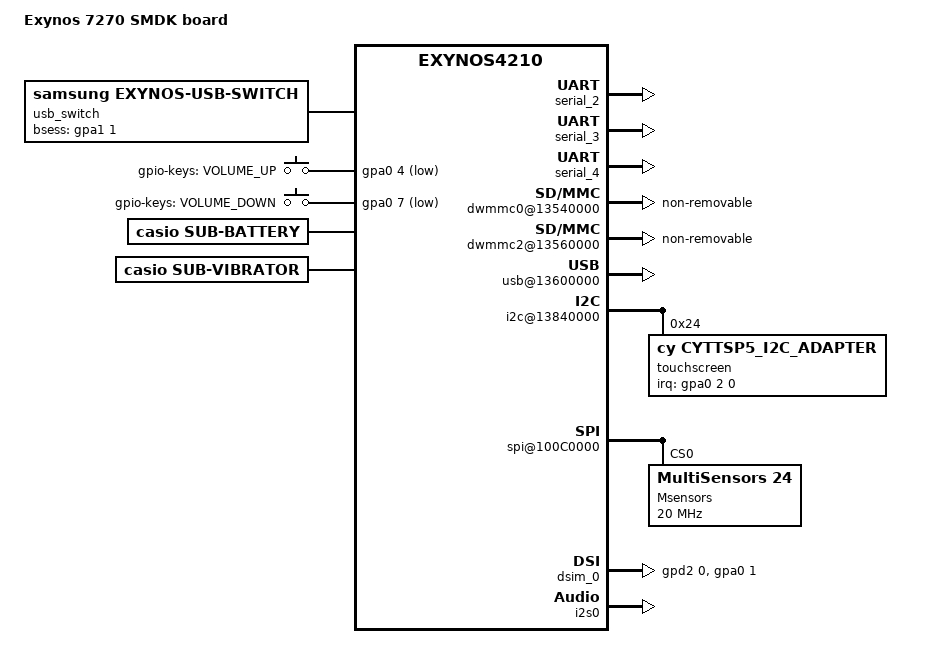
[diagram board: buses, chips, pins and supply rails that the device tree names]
/*
 * SAMSUNG SMDK7270 board device tree source
 *
 * Copyright (c) 2013 Samsung Electronics Co., Ltd.
 *		http://www.samsung.com
 *
 * This program is free software; you can redistribute it and/or modify
 * it under the terms of the GNU General Public License version 2 as
 * published by the Free Software Foundation.
*/

/dts-v1/;
#include "exynos7270-kingyo.dtsi"

/ {
	model = "Exynos 7270 SMDK board";
	compatible = "samsung,exynos7570", "samsung,exynos4210";

	memory@40000000 {
		device_type = "memory";
		reg = <0x0 0x40000000 0x30000000>;
	};

	chosen {
		bootargs ="console=ttySAC2,115200 clk_ignore_unused androidboot.hardware=kingyo firmware_class.path=/vendor/firmware ess_setup=0x46000000";
		linux,initrd-start = <0x42000000>;
		linux,initrd-end = <0x420FFFFF>;
	};

	fixed-rate-clocks {
		oscclk {
			compatible = "samsung,exynos7570-oscclk";
			clock-frequency = <26000000>;
		};
	};

	/* Console */
	serial_2: uart@13820000 {
		status = "okay";
	};

	/* UART (SUBCPU) */
	usi_0: usi@101D2000 {
		status = "okay";
	};

	serial_3: uart@13910000 {
		status = "okay";
	};

	/* UART (BT) */
	usi_1: usi@101D3000 {
		status = "okay";
	};

	serial_4: uart@13930000 {
		status = "okay";
	};

	dwmmc0@13540000 {
		status = "okay";
		num-slots = <1>;
		broken-cd;
		fixed_voltage;
		supports-highspeed;
		mmc-ddr-1_8v;
		supports-8bit;
		supports-cmd23;
		supports-erase;
		supports-hs400-enhanced-strobe;
		enable-ulp-mode;
		use-fine-tuning;
		only_once_tune;
		bypass-for-allpass;
		card-init-hwacg-ctrl;
		fifo-depth = <0x40>;
		non-removable;
		desc-size = <4>;
		card-detect-delay = <200>;
		clock-frequency = <700000000>;
		samsung,dw-mshc-ciu-div = <3>;
		samsung,dw-mshc-txdt-crc-timer-fastlimit = <0x34>;
		samsung,dw-mshc-txdt-crc-timer-initval = <0x38>;
		samsung,dw-mshc-hs400-delay-line = <0x60>;
		samsung,dw-mshc-sdr-timing = <3 0 2 0>;
		samsung,dw-mshc-ddr-timing = <3 0 4 2>;
		samsung,dw-mshc-hs200-timing = <3 0 3 0>;
		samsung,dw-mshc-hs400-timing = <1 0 2 0>;
		samsung,dw-mshc-hs400-ulp-timing = <3 0 2 0>;

		num-ref-clks = <12>;
		ciu_clkin = <25 43 43 25 43 87 175 43 43 175 175 175>;

		/* Swapping clock drive strength */
		clk-drive-number = <4>;
		pinctrl-names = "default",
			"fast-slew-rate-1x",
			"fast-slew-rate-2x",
			"fast-slew-rate-3x",
			"fast-slew-rate-4x";
		pinctrl-0 = <&sd0_clk &sd0_cmd &sd0_rdqs &sd0_bus1 &sd0_bus4 &sd0_bus8>;
		pinctrl-1 = <&sd0_clk_fast_slew_rate_1x>;
		pinctrl-2 = <&sd0_clk_fast_slew_rate_2x>;
		pinctrl-3 = <&sd0_clk_fast_slew_rate_3x>;
		pinctrl-4 = <&sd0_clk_fast_slew_rate_4x>;
		slot@0 {
			reg = <0>;
			bus-width = <8>;
		};
	};

	dwmmc2@13560000 {
		status = "okay";
		num-slots = <1>;
		supports-4bit;
		supports-cmd23;
		supports-erase;
		clock-gate;
		fixed_volt;
		supports-highspeed;
//		only_once_tune;
		enable-cclk-on-suspend;
		keep-power-in-suspend;
//		enable-sdio-wakeup;
		skip-init-mmc-scan;
		non-removable;
		broken-card-detect;
		supports-poweroff-notification;
		card-detect-ext;
//		cd-gpio = <&gpc0 1 0xf>;
		qos_int_level = <133>;
		fifo-depth = <0x40>;
		card-detect-delay = <200>;
		samsung,dw-mshc-ciu-div = <3>;
		samsung,dw-mshc-sdr-timing = <3 0 2 1>;
		samsung,dw-mshc-ddr-timing = <3 0 3 2>;
		num-ref-clks = <3>;
		ciu_clkin = <25 50 50>;

//		num-ref-clks = <11>;
//		ciu_clkin = <25 50 50 50 50 100 200 100 100 200 400>;
//		clk-drive-number = <4>;
		pinctrl-names = "default";
//			"fast-slew-rate-1x",
//			"fast-slew-rate-2x",
//			"fast-slew-rate-3x",
//			"fast-slew-rate-4x";
		pinctrl-0 = <&sd2_clk &sd2_cmd &sd2_bus1 &sd2_bus4>;
//		pinctrl-1 = <&sd2_clk_fast_slew_rate_1x>;
//		pinctrl-2 = <&sd2_clk_fast_slew_rate_2x>;
//		pinctrl-3 = <&sd2_clk_fast_slew_rate_3x>;
//		pinctrl-4 = <&sd2_clk_fast_slew_rate_4x>;

		slot@0 {
			reg = <0>;
			bus-width = <4>;
//			disable-wp;
		};
	};

	ion {
		compatible = "samsung,exynos5430-ion";
	};

	usb@13600000 {
		status = "okay";

		dwc3 {
			dr_mode = "otg";
		};
	};

	usbphy@135c0000 {
		status = "okay";
	};

	usb_switch {
		compatible = "samsung,exynos-usb-switch";
		udc = <&udc>;
		pinctrl-names = "default";
		pinctrl-0 = <&sub_main_vbus_det>;
		samsung,bsess-gpio = <&gpa1 1 0>;
	};

	bluetooth {
		compatible = "kingyo-bluetooth";
		#address-cells = <1>;
		#size-cells = <0>;
		pinctrl-names = "default";
		pinctrl-0 = <&dual_main_wkup &main_dual_rst>;
	};

	wlan {
		compatible = "kingyo-wifi";
		pinctrl-names = "default";
		pinctrl-0 = <&wlan_main_wkup &wlan_reset>;
	};

	kingyo_gps {
		compatible = "kingyo-gps";
		#address-cells = <1>;
		#size-cells = <0>;
		pinctrl-names = "default";
		pinctrl-0 = <&sub_main_int2>;
		sub-main-int2 = <&gpa1 3 0>;
	};

/*	OTS
	i2c@13880000 {
		status = "okay";
		muic-s2mm001@25 {
			compatible = "samsung,muic-s2mm001";
			reg = <0x25>;
			pinctrl-names = "default";
			muic,muic_int = <&gpa1 1 0>;
		};
	};
*/
	speedy@10510000 {
		status = "okay";
		s2mpw01mfd@00 {
			compatible = "samsung,s2mpw01mfd";
			reg = <0x00>;
			pinctrl-names = "default";
			pinctrl-0 = <&pmic_main_irq>;
			s2mpw01,irq-gpio = <&gpa0 5 0>;
			s2mpw01,wakeup = "enabled";

			i2c-speedy-address;
			cache_data = <1>;

			/* RTC: wtsr/smpl */
			wtsr_en = "enabled"; /* enable */
			wtsr_timer_val = <3>;   /* 1000ms */
			check_jigon = <0>; /* do not check jigon */
			/* RTC: reset time to 1/1/2014 00:00:00(Wed) */
			init_time,sec = <0>;
			init_time,min = <0>;
			init_time,hour = <0>;
			init_time,mday = <1>;
			init_time,mon = <0>;    /* +1 */
			init_time,year = <116>; /* 1900 + 114 */
			init_time,wday = <5>;

			s2mpw01-keys {
				button@1 {
					label = "pmic-keys: KEY_POWER";
					linux,code = <116>;
					wakeup = <1>;
				};
			};

			regulators {
				buck1_reg: BUCK1 {
					regulator-name = "BUCK1";
					regulator-min-microvolt = <600000>;
					regulator-max-microvolt = <1300000>;
					regulator-always-on;
					regulator-boot-on;
					regulator-ramp-delay = <12000>;
					regulator-initial-mode = <1>;
					regulator-expected-consumer = <6>;
				};

				buck3_reg: BUCK3 {
					regulator-name = "BUCK3";
					regulator-min-microvolt = <800000>;
					regulator-max-microvolt = <1500000>;
					regulator-always-on;
					regulator-boot-on;
					regulator-ramp-delay = <12000>;
					regulator-initial-mode = <3>;
				};

				buck4_reg: BUCK4 {
					regulator-name = "BUCK4";
					regulator-min-microvolt = <1800000>;
					regulator-max-microvolt = <2100000>;
					regulator-always-on;
					regulator-boot-on;
					regulator-initial-mode = <3>;
					regulator-ramp-delay = <12000>;
				};

				ldo1_reg: LDO1 {
					regulator-name = "vdd_ldo1";
					regulator-min-microvolt = <500000>;
					regulator-max-microvolt = <1350000>;
					regulator-ramp-delay = <12000>;
					regulator-initial-mode = <3>;
					regulator-always-on;
					regulator-boot-on;
				};

				ldo2_reg: LDO2 {
					regulator-name = "vdd_ldo2";
					regulator-min-microvolt = <500000>;
					regulator-max-microvolt = <1350000>;
					regulator-always-on;
					regulator-boot-on;
					regulator-ramp-delay = <12000>;
					regulator-initial-mode = <1>;
				};

				ldo3_reg: LDO3 {
					regulator-name = "vdd_ldo3";
					regulator-min-microvolt = <1500000>;
					regulator-max-microvolt = <2000000>;
					regulator-always-on;
					regulator-boot-on;
					regulator-initial-mode = <3>;
					regulator-ramp-delay = <12000>;
				};

				ldo4_reg: LDO4 {
					regulator-name = "vdd_ldo4";
					regulator-min-microvolt = <800000>;
					regulator-max-microvolt = <1200000>;
					regulator-always-on;
					regulator-boot-on;
					regulator-initial-mode = <1>;
					regulator-ramp-delay = <12000>;
				};

				ldo5_reg: LDO5 {
					regulator-name = "vdd_ldo5";
					regulator-min-microvolt = <800000>;
					regulator-max-microvolt = <1200000>;
					regulator-ramp-delay = <12000>;
				};

				ldo6_reg: LDO6 {
					regulator-name = "vdd_ldo6";
					regulator-min-microvolt = <1800000>;
					regulator-max-microvolt = <3375000>;
					regulator-initial-mode = <1>;
					regulator-ramp-delay = <12000>;
					regulator-always-on;
				};

				ldo7_reg: LDO7 {
					regulator-name = "vdd_ldo7";
					regulator-min-microvolt = <800000>;
					regulator-max-microvolt = <1200000>;
					regulator-always-on;
					regulator-boot-on;
					regulator-initial-mode = <3>;
					regulator-ramp-delay = <12000>;
				};

				ldo8_reg: LDO8 {
					regulator-name = "vdd_ldo8";
					regulator-min-microvolt = <1500000>;
					regulator-max-microvolt = <2000000>;
					regulator-always-on;
					regulator-boot-on;
					regulator-initial-mode = <0>;
					regulator-ramp-delay = <12000>;
				};

				ldo9_reg: LDO9 {
					regulator-name = "vdd_ldo9";
					regulator-min-microvolt = <1800000>;
					regulator-max-microvolt = <3375000>;
					regulator-always-on;
					regulator-boot-on;
					regulator-initial-mode = <0>;
					regulator-ramp-delay = <12000>;
				};

				ldo10_reg: LDO10 {
					regulator-name = "vdd_ldo10";
					regulator-min-microvolt = <1500000>;
					regulator-max-microvolt = <2000000>;
					regulator-always-on;
					regulator-boot-on;
					regulator-initial-mode = <1>;
					regulator-ramp-delay = <12000>;
				};
				/* Audio 1.8V */
				ldo11_reg: LDO11 {
					regulator-name = "vdd_aud_1.8";
					regulator-min-microvolt = <1800000>;
					regulator-max-microvolt = <1800000>;
				//	regulator-always-on;
				//	regulator-boot-on;
					regulator-ramp-delay = <12000>;
				};
				/* Audio 3.1V */
				ldo12_reg: LDO12 {
					regulator-name = "vdd_aud_3.1";
					regulator-min-microvolt = <3100000>;
					regulator-max-microvolt = <3100000>;
				//	regulator-always-on;
				//	regulator-boot-on;
					regulator-ramp-delay = <12000>;
				};

				/* Touch */
				ldo13_reg: LDO13 {
					regulator-name = "vdd_tsp_1.8";
					regulator-min-microvolt = <1800000>;
					regulator-max-microvolt = <1800000>;
					regulator-always-on;
					regulator-ramp-delay = <12000>;
				};

				ldo14_reg: LDO14 {
					regulator-name = "vdd_ldo14";
					regulator-min-microvolt = <1800000>;
					regulator-max-microvolt = <3375000>;
					regulator-ramp-delay = <12000>;
				};

				ldo15_reg: LDO15 {
					regulator-name = "vdd_ldo15";
					regulator-min-microvolt = <1500000>;
					regulator-max-microvolt = <2000000>;
					regulator-always-on;
					regulator-boot-on;
					regulator-initial-mode = <1>;
					regulator-ramp-delay = <12000>;
				};

				/* Touch */
				ldo16_reg: LDO16 {
					regulator-name = "vdd_tsp_3.1";
					regulator-min-microvolt = <3100000>;
					regulator-max-microvolt = <3100000>;
					regulator-always-on;
					regulator-initial-mode = <3>;
					regulator-ramp-delay = <12000>;
				};

				/* LCD */
				ldo17_reg: LDO17 {
					regulator-name = "vdd_lcd_1.8";
					regulator-min-microvolt = <1500000>;
					regulator-max-microvolt = <2000000>;
					regulator-ramp-delay = <12000>;
				};

				/* OTS */
				ldo18_reg: LDO18 {
					regulator-name = "vdd_ots_3.1";
					regulator-min-microvolt = <3100000>;
					regulator-max-microvolt = <3100000>;
					regulator-ramp-delay = <12000>;
				};

				ldo19_reg: LDO19 {
					regulator-name = "vdd_ldo19";
					regulator-min-microvolt = <1800000>;
					regulator-max-microvolt = <3375000>;
					regulator-ramp-delay = <12000>;
				};

				ldo20_reg: LDO20 {
					regulator-name = "vdd_ldo20";
					regulator-min-microvolt = <1800000>;
					regulator-max-microvolt = <3375000>;
					regulator-ramp-delay = <12000>;
				};

				ldo21_reg: LDO21 {
					regulator-name = "vdd_ldo21";
					regulator-min-microvolt = <1500000>;
					regulator-max-microvolt = <2000000>;
					regulator-ramp-delay = <12000>;
					regulator-always-on;
					regulator-boot-on;
					regulator-initial-mode = <1>;
				};

				ldo22_reg: LDO22 {
					regulator-name = "vdd_ldo22";
					regulator-min-microvolt = <800000>;
					regulator-max-microvolt = <1200000>;
					regulator-always-on;
					regulator-boot-on;
					regulator-initial-mode = <1>;
					regulator-ramp-delay = <12000>;
				};

				ldo23_reg: LDO23 {
					regulator-name = "vdd_ldo23";
					regulator-min-microvolt = <1800000>;
					regulator-max-microvolt = <3375000>;
					regulator-ramp-delay = <12000>;
				};
			};
		};
	};

	dummy-dev-buck1 {
		compatible = "samsung,exynos-rgt";
		test-supply = <&buck1_reg>;
	};

	dummy-dev-buck3 {
		compatible = "samsung,exynos-rgt";
		test-supply = <&buck3_reg>;
	};

	dummy-dev-buck4 {
		compatible = "samsung,exynos-rgt";
		test-supply = <&buck4_reg>;
	};

	dummy-dev-ldo1 {
		compatible = "samsung,exynos-rgt";
		test-supply = <&ldo1_reg>;
	};

	dummy-dev-ldo2 {
		compatible = "samsung,exynos-rgt";
		test-supply = <&ldo2_reg>;
	};

	dummy-dev-ldo3 {
		compatible = "samsung,exynos-rgt";
		test-supply = <&ldo3_reg>;
	};

	dummy-dev-ldo4 {
		compatible = "samsung,exynos-rgt";
		test-supply = <&ldo4_reg>;
	};

	dummy-dev-ldo5 {
		compatible = "samsung,exynos-rgt";
		test-supply = <&ldo5_reg>;
	};

	dummy-dev-ldo6 {
		compatible = "samsung,exynos-rgt";
		test-supply = <&ldo6_reg>;
	};

	dummy-dev-ldo7 {
		compatible = "samsung,exynos-rgt";
		test-supply = <&ldo7_reg>;
	};

	dummy-dev-ldo8 {
		compatible = "samsung,exynos-rgt";
		test-supply = <&ldo8_reg>;
	};

	dummy-dev-ldo9 {
		compatible = "samsung,exynos-rgt";
		test-supply = <&ldo9_reg>;
	};

	dummy-dev-ldo10 {
		compatible = "samsung,exynos-rgt";
		test-supply = <&ldo10_reg>;
	};

	dummy-dev-ldo11 {
		compatible = "samsung,exynos-rgt";
		test-supply = <&ldo11_reg>;
	};

	dummy-dev-ldo12 {
		compatible = "samsung,exynos-rgt";
		test-supply = <&ldo12_reg>;
	};

	dummy-dev-ldo13 {
		compatible = "samsung,exynos-rgt";
		test-supply = <&ldo13_reg>;
	};

	dummy-dev-ldo14 {
		compatible = "samsung,exynos-rgt";
		test-supply = <&ldo14_reg>;
	};

	dummy-dev-ldo15 {
		compatible = "samsung,exynos-rgt";
		test-supply = <&ldo15_reg>;
	};

	dummy-dev-ldo16 {
		compatible = "samsung,exynos-rgt";
		test-supply = <&ldo16_reg>;
	};

	dummy-dev-ldo17 {
		compatible = "samsung,exynos-rgt";
		test-supply = <&ldo17_reg>;
	};

	dummy-dev-ldo18 {
		compatible = "samsung,exynos-rgt";
		test-supply = <&ldo18_reg>;
	};

	dummy-dev-ldo19 {
		compatible = "samsung,exynos-rgt";
		test-supply = <&ldo19_reg>;
	};

	dummy-dev-ldo20 {
		compatible = "samsung,exynos-rgt";
		test-supply = <&ldo20_reg>;
	};

	dummy-dev-ldo21 {
		compatible = "samsung,exynos-rgt";
		test-supply = <&ldo21_reg>;
	};

	dummy-dev-ldo22 {
		compatible = "samsung,exynos-rgt";
		test-supply = <&ldo22_reg>;
	};

	dummy-dev-ldo23 {
		compatible = "samsung,exynos-rgt";
		test-supply = <&ldo23_reg>;
	};

	exynos-pm {
		compatible = "samsung,exynos-pm";
		reg = <0x0 0x139F0000 0x1000>,
		      <0x0 0x104E1200 0x100>;
		reg-names = "gpio_alive_base",
			    "gicd_ispendrn_base";
		num-eint = <24>;
		num-gic = <16>;
		suspend_mode_idx = <8>;		/* SYS_SLEEP */
		suspend_psci_idx = <133>;	/* PSCI_SYSTEM_SLEEP */
		cp_call_mode_idx = <4>;		/* SYS_LPD */
		cp_call_psci_idx = <132>;	/* PSCI_SYSTEM_CP_CALL */
	};

	exynos-powermode {
		compatible = "exynos,powermode";

		/*	        sicd		sicd_cpd	aftr		stop
		 * 		lpd		lpa		alpa		dstop
		 *		sleep
		 */
		wakeup_mask =  <0x400791E1>,	<0x0>,		<0x0>,		<0x0>,
			       <0x0>,		<0x0>,		<0x0>,		<0x0>,
			       <0x4007FFFC>;
		wakeup_mask2 = <0x0>,		<0x0>,		<0x0>,		<0x0>,
			       <0x0>,		<0x0>,		<0x0>,		<0x0>,
			       <0xFFFF00FF>;
		wakeup_mask3 = <0x0>,		<0x0>,		<0x0>,		<0x0>,
			       <0x0>,		<0x0>,		<0x0>,		<0x0>,
			       <0xFFFF00FF>;

		cpd_residency = <3000>;
		sicd_residency = <3000>;

		sicd_enabled = <0>;

		idle-ip = "136c0000.pwm",		/* idle ip index : 0 */
			  "10550000.adc",		/* idle ip index : 1 */

			  "10510000.hsi2c",		/* idle ip index : 2 */
			  "13950000.hsi2c",		/* idle ip index : 3 */
			  "13960000.hsi2c",		/* idle ip index : 4 */
			  "138a0000.hsi2c",		/* idle ip index : 5 */
			  "138b0000.hsi2c",		/* idle ip index : 6 */
			  "138c0000.hsi2c",		/* idle ip index : 7 */
			  "138f0000.hsi2c",		/* idle ip index : 8 */

			  "13870000.i2c",		/* idle ip index : 9 */
			  "13880000.i2c",		/* idle ip index : 10 */
			  "13890000.i2c",		/* idle ip index : 11 */
			  "13840000.i2c",		/* idle ip index : 12 */
			  "13830000.i2c",		/* idle ip index : 13 */
			  "138d0000.i2c",		/* idle ip index : 14 */
			  "138e0000.i2c",		/* idle ip index : 15 */
			  "13850000.i2c",		/* idle ip index : 16 */
			  "13860000.i2c",		/* idle ip index : 17 */

			  "13540000.dwmmc0",		/* idle ip index : 18 */
			  "13560000.dwmmc2",		/* idle ip index : 19 */

			  "13600000.usb",		/* idle ip index : 20 */

			  "100c0000.spi",		/* idle ip index : 21 */
			  "13900000.spi",		/* idle ip index : 22 */
			  "13910000.spi",		/* idle ip index : 23 */
			  "13920000.spi",		/* idle ip index : 24 */
			  "13930000.spi",		/* idle ip index : 25 */

			  "10500000.mailbox-cp",	/* idle ip index : 26 */
			  "10570000.mailbox-gnss",	/* idle ip index : 27 */

			  "14830000.decon_fb",		/* idle ip index : 28 */
			  "pd-g3d",			/* idle ip index : 29 */
			  "pd-isp",			/* idle ip index : 30 */
			  "pd-mfcmscl",			/* idle ip index : 31 */
			  "148f0000.lpass",             /* idle ip index : 32 */
			  "bluetooth";			/* idle ip index : 33 */
		idle_ip_mask {
			sicd: SYS_SICD {
				mode-index = <0>;
				ref-idle-ip = <0>,  <1>,  <2>,  <3>,  <4>,  <5>,  <6>,  <7>,  <8>,  <9>,
					     <10>, <11>, <12>, <13>, <14>, <15>, <16>, <17>, <18>, <19>,
					     <20>, <21>, <22>, <23>, <24>, <25>, <26>, <27>, <28>, <29>,
					     <30>, <31>, <32>;
			};
		};
	};

#if 0
	/* CAMHSI2C2 (ALS) */
	hsi2c@138B0000 {
		status = "okay";
		clock-frequency = <100000>;
		samsung,scl-clk-stretching;
	};
#endif
	acpm: acpm@11C88000 {
		compatible = "samsung,exynos-acpm";
		#address-cells = <2>;
		#size-cells = <1>;
		reg = <0x0 0x11C88000 0x1000>;

		log_base = <0x02047700>;
		time_len = <32>;
		log_buff_size = <16>;
		log_buff_len = <500>;
		debug_logging_level = <0>;
		logging_period = <500>;

		dump_base = <0x02046000>;
		dump_size = <0x4000>;

		plugins {
			framework {
				attach = <2>;
				id = <0>;
				acpm-ipc-channel = <&framework_ch>;
			};
		};
	};

	acpm_ipc: acpm_ipc@11C00000 {
		compatible = "samsung,exynos-acpm-ipc";
		#address-cells = <2>;
		#size-cells = <1>;

		interrupts = <0 22 0>;
		reg = <0x0 0x11C00000 0x1000>;

		channels {
			polling = <1>;
			max_buff_size = <0x300>;
			framework_ch: framework@0x02047400 {
				channel_id = <0>;
				rx_buff = <0x02047400>;
				tx_buff = <0x02047480>;
				buff_size = <12>;
				buff_len = <8>;
				direction_buff = <412>;
			};
		};
	};

	i2c@13840000 {
		samsung,i2c-sda-delay = <100>;
		samsung,i2c-max-bus-freq = <400000>;
		#size-cells = <0>;
		status = "okay";

		touchscreen@24 {
			compatible = "cy,cyttsp5_i2c_adapter";
			reg = <0x24>;
			interrupt-parent = <&gpa0>;
			interrupts = <2 0 0>;
			pinctrl-names = "default";
			pinctrl-0 = <&touch_irq &touch_rst>;
			cy,adapter_id = "cyttsp5_i2c_adapter";
			cy,core {
				cy,name = "cyttsp5_core";
				cy,irq_gpio = <&gpa0 2 0x1>;
				cy,rst_gpio = <&gpc3 2 0x1>;
				cy,hid_desc_register = <1>;
				cy,mt {
					cy,name = "cyttsp5_mt";
					cy,inp_dev_name = "cyttsp5_mt";
					cy,abs =
						/* ABS_MT_POSITION_X, CY_ABS_MIN_X, CY_ABS_MAX_X, 0, 0 */
						<0x35 0 390 0 0
						/* ABS_MT_POSITION_Y, CY_ABS_MIN_Y, CY_ABS_MAX_Y, 0, 0 */
						0x36 0 390 0 0
						/* ABS_MT_PRESSURE, CY_ABS_MIN_P, CY_ABS_MAX_P, 0, 0 */
						0x3a 0 255 0 0
						/* CY_IGNORE_VALUE, CY_ABS_MIN_W, CY_ABS_MAX_W, 0, 0 */
						0xffff 0 255 0 0
						/* ABS_MT_TRACKING_ID, CY_ABS_MIN_T, CY_ABS_MAX_T, 0, 0 */
						0x39 0 15 0 0
						/* ABS_MT_TOUCH_MAJOR, 0, 255, 0, 0 */
						0x30 0 255 0 0
						/* ABS_MT_TOUCH_MINOR, 0, 255, 0, 0 */
						0x31 0 255 0 0
						/* ABS_MT_ORIENTATION, -127, 127, 0, 0 */
						0x34 0xffffff81 127 0 0
						/* ABS_MT_TOOL_TYPE, 0, MT_TOOL_MAX, 0, 0 */
						0x37 0 1 0 0>;
						/* ABS_DISTANCE, 0, 255, 0, 0 */
						/*0x19 0 255 0 0>;*/
				};
			};
		};
	};

	spi@100C0000 {
		status = "okay";
		Msensors: MultiSensors@0 {
			compatible = "MultiSensors,24";
			spi-max-frequency = <20000000>;
			reg = <0x0>;
			nsw,sub_main_int = <&gpa0 3 0>;
			nsw,main_sub_int = <&gpf0 1 0>;
			pinctrl-names = "default";
			pinctrl-0 = <&sub_main_int &main_sub_int>;
			controller-data {
				samsung,spi-chip-select-mode = <1>;
				samsung,spi-feedback-delay = <0>;
			};
		};
	};

	gpio_keys {
		compatible = "gpio-keys";
		pinctrl-names = "default";
		pinctrl-0 = <&key_tool &key_app>;
		#address-cells = <1>;
		#size-cells = <0>;

		button@1 {
			label = "gpio-keys: VOLUME_UP";
			interrupts = <4 0 0>;
			interrupt-parent = <&gpa0>;
			linux,code = <115>;
			gpios = <&gpa0 4 0xf>;
			gpio-key,wakeup = <1>;
		};
		button@2 {
			label = "gpio-keys: VOLUME_DOWN";
			interrupts = <7 0 0>;
			interrupt-parent = <&gpa0>;
			linux,code = <114>;
			gpios = <&gpa0 7 0xf>;
			gpio-key,wakeup = <1>;
		};
	};

	decon_fb@14830000 {
		/* HW TE */
		gpios = <&gpe0 2 0xf>;
		/* 0: video mode, 1: DP command mode, 2: MIPI command mode */
		psr_mode = <2>;
		/* vclk_mif = 100MHz */
		mif-vclk = <100000000>;
		/* vclk = 12.5Mhz */
		disp-vclk = <12500000>;
		/* aclk = 208Mhz */
		disp-dvfs = <208000000>;
		status = "okay";
	};

	dsim_0: dsim@14800000 {
		lcd_info = <&auo_h120bln017>;
		/* lcd reset, lcd power */
		gpios = <&gpd2 0 0x1 &gpa0 1 0x1>;
		pinctrl-names = "default";
		pinctrl-0 = <&reset_oled &pwctl_oled>;
		regulator_ldo17 = "vdd_lcd_1.8";
		/* number of data lanes in use */
		data_lane_cnt = <1>;
		status = "okay";
	};

	auo_h120bln017: auo_h120bln017_custom {
		/* 0: video mode, 1: DP command mode, 2: MIPI command mode */
		mode = <2>;
		/* custom (390 x 390) */
		panel_name = "auo_h120bln017";
		resolution = <390 390>;
		/* DISP I/F resolution width : 300, height : 507 */
		dispif_resol = <300 507>;
		size = <32 32>;
		timing,refresh = <45>;
		/* dsim H porch : hbp, hfp, hsa */
		timing,dsim_h-porch = <1 1 1>;
		/* dsim V porch : VBP, VFP, VSA */
		timing,dsim_v-porch = <10 2 1>;
		/* decon H porch : hbp, hfp, hsa */
		timing,decon_h-porch = <7 1 1>;
		/* decon V porch : VBP, VFP, VSA */
		timing,decon_v-porch = <10 2 1>;
		/* panel max speed : 384Mbps */
		timing,dsi-hs-clk = <384>;
		timing,pms = <2 118 2>;
		timing,dsi-escape-clk = <16>;
	};

	battery: sub_bat {
		compatible = "casio,sub-battery";
		status = "okay";
	};

	vibrator: sub_vib {
		compatible = "casio,sub-vibrator";
		status = "okay";
	};

/*
 * we should decide whether the audio mixer should be removed
 */ 
 
 	s1403x: s1403x@14880000 {
		status = "okay";
	};

	i2s0: i2s@148A0000 {
		pinctrl-names = "default", "idle";
		pinctrl-0 = <&i2s_pmic_bus>;
		pinctrl-1 = <&i2s_pmic_bus_idle>;
		status = "okay";
	};

	/* sound */

	audio_codec: ics43432 {
		compatible = "invensense,ics43432";
		status = "okay";
	};

	sound {
		compatible = "samsung,kingyo-4343X";
		vdd_18-supply = <&ldo11_reg>;
		clocks = <&clock 740>, <&clock 742>;
		clock-names = "fout_aud_pll", "audmixer_dout";
		samsung,audio-cpu = <&i2s0>;
		samsung,audio-codec = <&audio_codec>;
		samsung,auxdev = <&s1403x>;
		status = "okay";
	};

#if 0
	dsim_0: dsim@14800000 {
		lcd_info = <&rm69080>;
		/*lcd reset */
		gpios = <&gpd2 0 0x1>;

		/*lcd power */
		pinctrl-names = "default";
		pinctrl-0 = <&pwctl_oled>;
		pwctl_oled = <&gpa0 1 1>;

		/* number of data lanes in use */
		data_lane_cnt = <1>;

		status = "okay";
	};

	rm69080: rm69080_custom {
		/* 0: video mode, 1: DP command mode, 2: MIPI command mode */
		mode = <2>;
		/* custom (360 x 360) */
		panel_name = "rm69080";
		resolution = <400 400>;
		/* DISP I/F resolution width : 300, height : 432 */
		dispif_resol = <320 500>;
		size = <35 35>;
		timing,refresh = <60>;
		/* dsim H porch : hbp, hfp, hsa */
		timing,dsim_h-porch = <1 1 1>;
		/* dsim V porch : VBP, VFP, VSA */
		timing,dsim_v-porch = <10 2 1>;
		/* decon H porch : hbp, hfp, hsa */
		timing,decon_h-porch = <7 1 1>;
		/* decon V porch : VBP, VFP, VSA */
		timing,decon_v-porch = <10 2 1>;
		/* panel max speed : 384Mbps */
		timing,dsi-hs-clk = <384>;
		timing,pms = <2 118 2>;
		timing,dsi-escape-clk = <16>;
	};
#endif

#if 0
	/* camera */
	#define SENSOR_SCENARIO_NORMAL      0
	#define SENSOR_SCENARIO_VISION      1
	#define SENSOR_SCENARIO_EXTERNAL    2
	#define SENSOR_SCENARIO_OIS_FACTORY 3
	#define SENSOR_SCENARIO_VIRTUAL     9
	#define FLITE_ID_NOTHING 100
	
# // it is for external isp	
	fimc_is@14400000 {
		front_sensor_id = <57>; /* 4EC */
		use_module_check;
		skip_cal_loading;

		/* TODO : dvfs */
		fimc_is_dvfs {
			#define DVFS_INT_L0 467000
			#define DVFS_INT_L1 415000

			#define DVFS_CAM_L0 554000
			#define DVFS_CAM_L1 444000

			#define DVFS_MIF_L0 830000
			#define DVFS_MIF_L1 700000
			#define DVFS_MIF_L2 666000
			#define DVFS_MIF_L3 415000

			table0 {
				desc = "HAL1 version";

				default_int = <DVFS_INT_L0>;
				default_cam = <DVFS_CAM_L0>;
				default_mif = <DVFS_MIF_L0>;
				default_i2c = <0>;

				max_int = <DVFS_INT_L0>;
				max_cam = <DVFS_CAM_L0>;
				max_mif = <DVFS_MIF_L0>;
				max_i2c = <0>;
			};

			table1 {
				desc = "HAL3 version";

				default_int = <DVFS_INT_L0>;
				default_cam = <DVFS_CAM_L0>;
				default_mif = <DVFS_MIF_L0>;
				default_i2c = <0>;

				max_int = <DVFS_INT_L0>;
				max_cam = <DVFS_CAM_L0>;
				max_mif = <DVFS_MIF_L0>;
				max_i2c = <0>;
			};
		};
	};

	/* CAMHSI2C1 (camera) */
	hsi2c_3: hsi2c@138C0000 {
		gpios = <&gpf0 2 0 &gpf0 3 0>;
		status = "okay";
		clock-frequency = <400000>;

		pinctrl-names = "default";
		pinctrl-0 = <&hs_i2c3_bus>;

		fimc_is_4ec_soc@56 {
			compatible = "samsung,exynos5-fimc-is-sensor-4ec-soc";
			reg = <0x56>;
			setfile = "default";
  			pinctrl-names = "pin0", "pin1", "pin2";
  			pinctrl-0 = <>;
  			pinctrl-1 = <&fimc_is_mclk0_in>;
  			pinctrl-2 = <&fimc_is_mclk0_fn>;

  			id = <1>; /* sensor node id */
  			mclk_ch = <0>;
  			sensor_i2c_ch = <1>;
  			sensor_i2c_addr = <0x56>;
			position = <1>; /* Rear:0. Front:1 */

			gpio_reset = <&gpd1 1 0x1>; /*camera reset */
			status = "okay";
		};
	};
#endif
/*
	fimc_is_sensor1: fimc_is_sensor1@14420000 {
		scenario = <SENSOR_SCENARIO_EXTERNAL>;
		id = <1>;
		csi_ch = <0>;
		flite_ch = <0>;
		is_bns = <1>;
		status = "okay";
	};



	fimc_is_sensor0: fimc_is_sensor0@14420000 {
		scenario = <SENSOR_SCENARIO_NORMAL>;
		id = <0>;
		csi_ch = <0>;
		flite_ch = <0>;
		is_bns = <1>;
		status = "okay";
	};

*/
};
